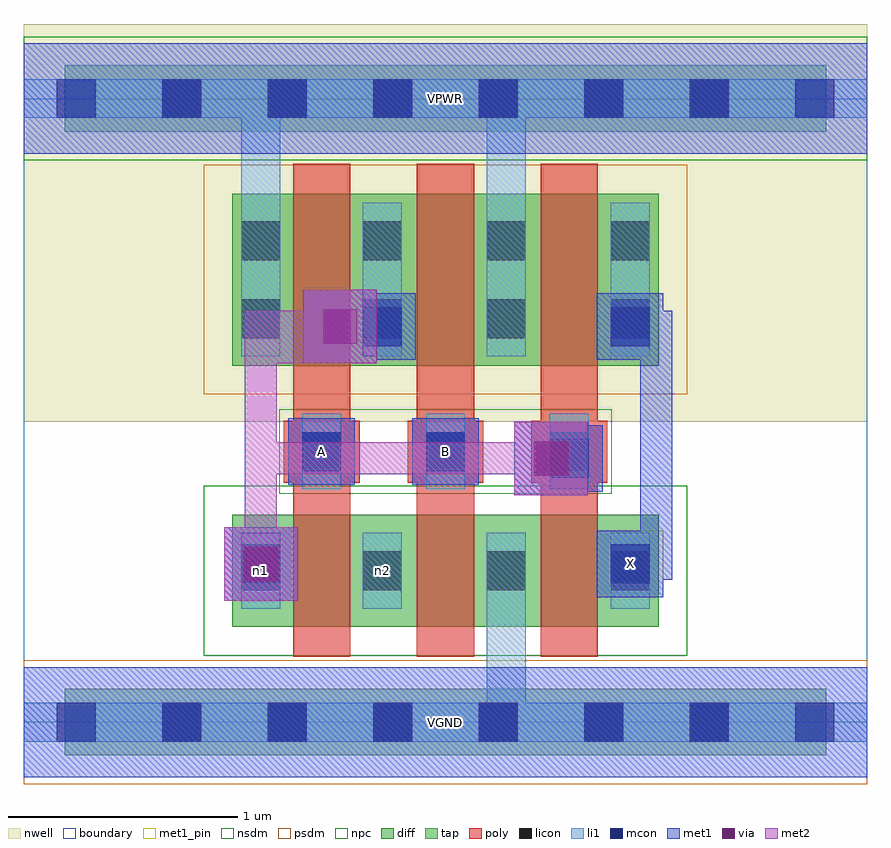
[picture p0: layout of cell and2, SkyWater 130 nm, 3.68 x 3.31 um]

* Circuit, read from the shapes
.subckt and2 A B VGND VPWR X n1 n2
XM1 n2 A n1 VGND sky130_fd_pr__nfet_01v8 w=0.49 l=0.25
XM2 VGND B n2 VGND sky130_fd_pr__nfet_01v8 w=0.49 l=0.25
XM3 X n1 VGND VGND sky130_fd_pr__nfet_01v8 w=0.49 l=0.25
XM4 n1 A VPWR VPWR sky130_fd_pr__pfet_01v8 w=0.75 l=0.25
XM5 VPWR B n1 VPWR sky130_fd_pr__pfet_01v8 w=0.75 l=0.25
XM6 X n1 VPWR VPWR sky130_fd_pr__pfet_01v8 w=0.75 l=0.25
.ends

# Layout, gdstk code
import gdstk
lib = gdstk.Library(unit=1e-6, precision=1e-09)
def R(c, l, rs):  # rectangles x0, y0, x1, y1
    for r in rs: c.add(gdstk.rectangle(r[:2], r[2:], *l))
def A(c, l, x, y, w, h, nx, ny, dx, dy):  # array of equal rectangles
    R(c, l, [(x+i*dx, y+j*dy, x+i*dx+w, y+j*dy+h) for i in range(nx) for j in range(ny)])
nwell = (64, 20)
diff = (65, 20)
tap = (65, 44)
poly = (66, 20)
licon = (66, 44)
li1 = (67, 20)
mcon = (67, 44)
met1_pin = (68, 16)
met1 = (68, 20)
via = (68, 44)
met2 = (69, 20)
nsdm = (93, 44)
psdm = (94, 20)
npc = (95, 20)
boundary = (235, 4)

and2 = lib.new_cell('and2')
R(and2, nwell, [(0,1.31,3.68,3.045)])
R(and2, diff, [(0.91,0.415,2.77,0.905), (0.91,1.555,2.77,2.305)])
R(and2, tap, [(0.18,-0.145,3.5,0.145), (0.18,2.575,3.5,2.865)])
A(and2, poly, 1.175, 0.285, 0.25, 2.15, 3, 1, 0.54, 0)
A(and2, poly, 1.135, 1.045, 0.33, 0.27, 3, 1, 0.54, 0)
A(and2, licon, 0.605, -0.085, 0.17, 0.17, 6, 2, 0.46, 2.72)
A(and2, licon, 1.48, 0.575, 0.17, 0.17, 3, 2, 0.54, 1.1)
A(and2, licon, 1.215, 1.095, 0.17, 0.17, 3, 1, 0.54, 0)
A(and2, licon, 1.48, 2.015, 0.17, 0.17, 3, 1, 0.54, 0)
R(and2, licon, [(0.95,0.575,1.12,0.745), (0.95,1.675,1.12,1.845), (0.95,2.015,1.12,2.185)])
A(and2, li1, 1.48, 0.495, 0.17, 0.33, 3, 1, 0.54, 0)
A(and2, li1, 1.215, 1.015, 0.17, 0.33, 3, 1, 0.54, 0)
A(and2, li1, 1.48, 1.595, 0.17, 0.67, 3, 1, 0.54, 0)
R(and2, li1, [(0,-0.085,3.68,0.085), (2.02,-0.085,2.19,0.825), (0.95,0.495,1.12,0.825), (0.95,1.595,1.12,2.265), (0.95,1.595,1.12,2.805), (2.02,1.595,2.19,2.805), (0,2.635,3.68,2.805)])
A(and2, mcon, 0.145, -0.085, 0.17, 0.17, 8, 2, 0.46, 2.72)
R(and2, mcon, [(0.95,0.605,1.12,0.775), (2.56,0.605,2.73,0.775), (2.295,1.065,2.465,1.235), (1.215,1.095,1.385,1.265), (1.755,1.095,1.925,1.265), (1.48,1.64,1.65,1.81), (2.56,1.64,2.73,1.81)])
R(and2, met1_pin, [(0,-0.24,3.68,0.24), (2.5,0.545,2.79,0.835), (1.155,1.035,1.445,1.325), (1.695,1.035,1.985,1.325), (0,2.48,3.68,2.96)])
R(and2, met1, [(0,-0.24,3.68,0.24), (0.875,0.53,1.195,0.85), (0.89,0.545,1.18,0.835), (2.5,0.545,2.79,0.835), (2.575,0.62,2.83,0.76), (2.69,0.62,2.83,1.795), (2.14,0.99,2.46,1.31), (2.235,1.005,2.525,1.295), (1.155,1.035,1.445,1.325), (1.695,1.035,1.985,1.325), (2.23,1.08,2.45,1.22), (1.22,1.565,1.54,1.885), (1.42,1.58,1.71,1.87), (2.5,1.58,2.79,1.87), (1.31,1.655,1.635,1.795), (2.575,1.655,2.83,1.795), (0,2.48,3.68,2.96)])
R(and2, via, [(0.96,0.615,1.11,0.765), (2.225,1.075,2.375,1.225), (1.305,1.65,1.455,1.8)])
R(and2, met2, [(0.875,0.53,1.195,0.85), (0.965,0.62,1.105,1.795), (2.14,0.99,2.46,1.31), (0.965,1.08,2.37,1.22), (1.105,1.565,1.22,1.795), (1.22,1.565,1.54,1.885), (0.965,1.655,1.45,1.795)])
R(and2, nsdm, [(0.785,0.29,2.895,1.03), (0,2.45,3.68,2.99)])
R(and2, psdm, [(0,-0.27,3.68,0.27), (0.785,1.43,2.895,2.43)])
R(and2, npc, [(1.115,0.995,2.565,1.365)])
R(and2, boundary, [(0,0,3.68,2.72)])
and2.add(gdstk.Label('n1', (1.035,0.66), layer=67, texttype=5))
and2.add(gdstk.Label('n2', (1.565,0.66), layer=67, texttype=5))
and2.add(gdstk.Label('A', (1.3,1.18), layer=68, texttype=5))
and2.add(gdstk.Label('B', (1.84,1.18), layer=68, texttype=5))
and2.add(gdstk.Label('X', (2.645,0.69), layer=68, texttype=5))
and2.add(gdstk.Label('VPWR', (1.84,2.72), layer=68, texttype=5))
and2.add(gdstk.Label('VGND', (1.84,0), layer=68, texttype=5))
and2.add(gdstk.Label('A', (1.3,1.18), layer=68, texttype=16))
and2.add(gdstk.Label('B', (1.84,1.18), layer=68, texttype=16))
and2.add(gdstk.Label('X', (2.645,0.69), layer=68, texttype=16))
and2.add(gdstk.Label('VPWR', (1.84,2.72), layer=68, texttype=16))
and2.add(gdstk.Label('VGND', (1.84,0), layer=68, texttype=16))

lib.write_gds('and2.gds')
